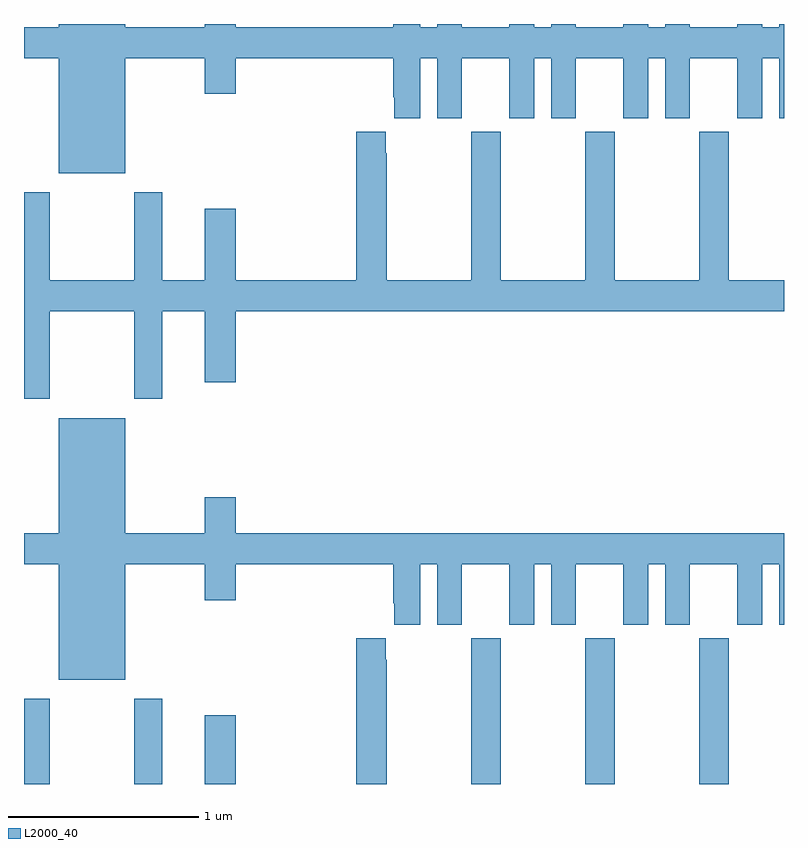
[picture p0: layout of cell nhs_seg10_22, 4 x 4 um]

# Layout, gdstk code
import gdstk
lib = gdstk.Library(unit=1e-6, precision=1e-09)
def R(c, l, rs):  # rectangles x0, y0, x1, y1
    for r in rs: c.add(gdstk.rectangle(r[:2], r[2:], *l))
def A(c, l, x, y, w, h, nx, ny, dx, dy):  # array of equal rectangles
    R(c, l, [(x+i*dx, y+j*dy, x+i*dx+w, y+j*dy+h) for i in range(nx) for j in range(ny)])
def P(c, l, *ps):  # polygons
    for p in ps: c.add(gdstk.Polygon(p, *l))
L2000_40 = (2000, 40)

nhs_seg10_22 = lib.new_cell('nhs_seg10_22')
A(nhs_seg10_22, L2000_40, 113.353, 1292.5, 0.155, 0.768, 3, 1, 0.6, 0)
R(nhs_seg10_22, L2000_40, [(111,1292.5,111.135,1292.95), (111.58,1292.5,111.727,1292.95), (111.95,1292.5,112.114,1292.863)])
P(nhs_seg10_22, L2000_40, [(111.532,1296.32),(111.95,1296.32),(111.95,1296.132),(112.114,1296.132),(112.114,1296.32),(112.943,1296.32),(112.943,1296.115),(112.949,1296.115),(112.949,1296.003),(113.086,1296.003),(113.086,1296.32),(113.174,1296.32),(113.174,1296.003),(113.305,1296.003),(113.305,1296.32),(113.555,1296.32),(113.555,1296.003),(113.686,1296.003),(113.686,1296.32),(113.774,1296.32),(113.774,1296.003),(113.905,1296.003),(113.905,1296.32),(114.155,1296.32),(114.155,1296.003),(114.286,1296.003),(114.286,1296.32),(114.374,1296.32),(114.374,1296.003),(114.505,1296.003),(114.505,1296.32),(114.755,1296.32),(114.755,1296.003),(114.886,1296.003),(114.886,1296.32),(114.974,1296.32),(114.974,1296.003),(115,1296.003),(115,1296.5),(114.974,1296.5),(114.974,1296.484),(114.886,1296.484),(114.886,1296.5),(114.755,1296.5),(114.755,1296.484),(114.505,1296.484),(114.505,1296.5),(114.374,1296.5),(114.374,1296.484),(114.286,1296.484),(114.286,1296.5),(114.155,1296.5),(114.155,1296.484),(113.905,1296.484),(113.905,1296.5),(113.774,1296.5),(113.774,1296.484),(113.686,1296.484),(113.686,1296.5),(113.555,1296.5),(113.555,1296.484),(113.305,1296.484),(113.305,1296.5),(113.174,1296.5),(113.174,1296.484),(113.086,1296.484),(113.086,1296.5),(112.943,1296.5),(112.943,1296.484),(112.114,1296.484),(112.114,1296.5),(111.95,1296.5),(111.95,1296.484),(111.532,1296.484),(111.532,1296.5),(111.182,1296.5),(111.182,1296.484),(111,1296.484),(111,1296.32),(111.182,1296.32),(111.182,1295.714),(111.532,1295.714)],
  [(111.135,1294.988),(111.58,1294.988),(111.58,1294.527),(111.727,1294.527),(111.727,1294.988),(111.95,1294.988),(111.95,1294.614),(112.114,1294.614),(112.114,1294.988),(115,1294.988),(115,1295.152),(114.708,1295.152),(114.708,1295.932),(114.553,1295.932),(114.553,1295.152),(114.108,1295.152),(114.108,1295.932),(113.953,1295.932),(113.953,1295.152),(113.508,1295.152),(113.508,1295.932),(113.353,1295.932),(113.353,1295.152),(112.908,1295.152),(112.908,1295.819),(112.903,1295.819),(112.903,1295.932),(112.748,1295.932),(112.748,1295.152),(112.114,1295.152),(112.114,1295.527),(111.95,1295.527),(111.95,1295.152),(111.727,1295.152),(111.727,1295.614),(111.58,1295.614),(111.58,1295.152),(111.135,1295.152),(111.135,1295.614),(111,1295.614),(111,1294.527),(111.135,1294.527)],
  [(111.532,1293.656),(111.95,1293.656),(111.95,1293.468),(112.114,1293.468),(112.114,1293.656),(112.943,1293.656),(112.943,1293.451),(112.949,1293.451),(112.949,1293.339),(113.086,1293.339),(113.086,1293.656),(113.174,1293.656),(113.174,1293.339),(113.305,1293.339),(113.305,1293.656),(113.555,1293.656),(113.555,1293.339),(113.686,1293.339),(113.686,1293.656),(113.774,1293.656),(113.774,1293.339),(113.905,1293.339),(113.905,1293.656),(114.155,1293.656),(114.155,1293.339),(114.286,1293.339),(114.286,1293.656),(114.374,1293.656),(114.374,1293.339),(114.505,1293.339),(114.505,1293.656),(114.755,1293.656),(114.755,1293.339),(114.886,1293.339),(114.886,1293.656),(114.974,1293.656),(114.974,1293.339),(115,1293.339),(115,1293.82),(112.114,1293.82),(112.114,1294.009),(111.95,1294.009),(111.95,1293.82),(111.532,1293.82),(111.532,1294.426),(111.182,1294.426),(111.182,1293.82),(111,1293.82),(111,1293.656),(111.182,1293.656),(111.182,1293.05),(111.532,1293.05)],
  [(112.908,1293.155),(112.903,1293.155),(112.903,1293.268),(112.748,1293.268),(112.748,1292.5),(112.908,1292.5)])

lib.write_gds('nhs_seg10_22.gds')
